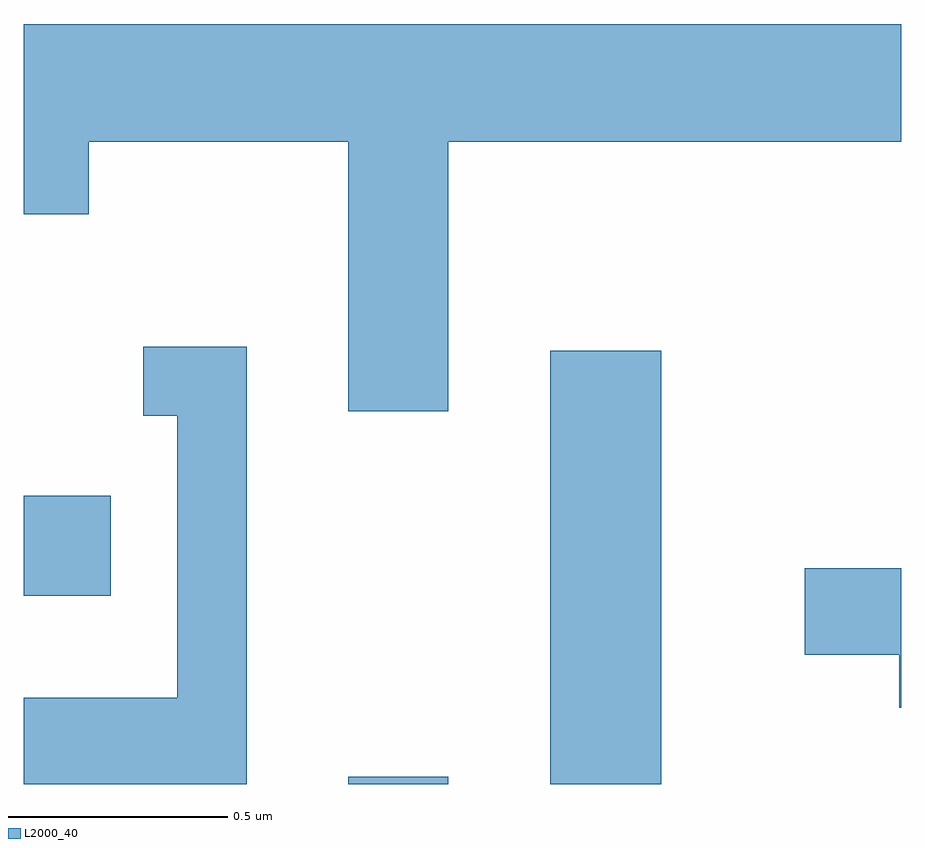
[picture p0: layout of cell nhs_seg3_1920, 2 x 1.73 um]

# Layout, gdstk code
import gdstk
lib = gdstk.Library(unit=1e-6, precision=1e-09)
def R(c, l, rs):  # rectangles x0, y0, x1, y1
    for r in rs: c.add(gdstk.rectangle(r[:2], r[2:], *l))
def P(c, l, *ps):  # polygons
    for p in ps: c.add(gdstk.Polygon(p, *l))
L2000_40 = (2000, 40)

nhs_seg3_1920 = lib.new_cell('nhs_seg3_1920')
R(nhs_seg3_1920, L2000_40, [(200.351,1117.892,200.579,1117.909), (200.811,1117.892,201.064,1118.879), (199.611,1118.321,199.809,1118.549)])
P(nhs_seg3_1920, L2000_40, [(200.579,1119.356),(201.611,1119.356),(201.611,1119.624),(199.611,1119.624),(199.611,1119.191),(199.759,1119.191),(199.759,1119.356),(200.351,1119.356),(200.351,1118.741),(200.579,1118.741)],
  [(200.119,1118.889),(199.883,1118.889),(199.883,1118.731),(199.961,1118.731),(199.961,1118.089),(199.611,1118.089),(199.611,1117.892),(200.119,1117.892)],
  [(201.611,1118.384),(201.391,1118.384),(201.391,1118.186),(201.606,1118.186),(201.606,1118.066),(201.611,1118.066)])

lib.write_gds('nhs_seg3_1920.gds')
